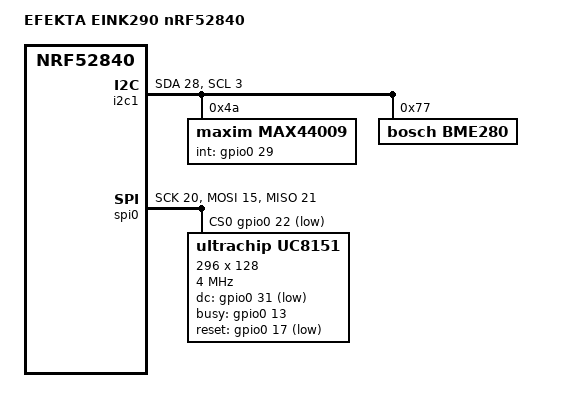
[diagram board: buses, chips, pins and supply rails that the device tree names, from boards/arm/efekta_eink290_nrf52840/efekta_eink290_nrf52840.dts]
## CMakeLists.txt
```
#
# Copyright (c) 2021 Nordic Semiconductor ASA
#
# SPDX-License-Identifier: LicenseRef-Nordic-5-Clause
#
cmake_minimum_required(VERSION 3.20.0)
list(APPEND BOARD_ROOT ${CMAKE_CURRENT_SOURCE_DIR})
set(CMAKE_EXPORT_COMPILE_COMMANDS ON CACHE INTERNAL "")
set(ZEPHYR_EXTRA_MODULES "${CMAKE_SOURCE_DIR}/modules")
find_package(Zephyr REQUIRED HINTS $ENV{ZEPHYR_BASE})

project("Zigbee EFEKTA EINK290 NRF52840")

# NORDIC SDK APP START
#target_include_directories(app PRIVATE include)
target_sources(app PRIVATE
  src/main.c
)
# NORDIC SDK APP END
```

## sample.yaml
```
sample:
  name: Zigbee application template
  description: Zigbee application template
tests:
  zigbee.template:
    build_only: true
    platform_allow: efekta_eink290_nrf52840 nrf52840dk_nrf52840 nrf52833dk_nrf52833 nrf5340dk_nrf5340_cpuapp nrf21540dk_nrf52840
    tags: ci_build smoke
    integration_platforms:
      - nrf52840dk_nrf52840
      - nrf52833dk_nrf52833
      - nrf5340dk_nrf5340_cpuapp
      - nrf21540dk_nrf52840
      - efekta_eink290_nrf52840
```

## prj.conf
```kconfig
#
# Copyright (c) 2021 Nordic Semiconductor ASA
#
# SPDX-License-Identifier: LicenseRef-Nordic-5-Clause
#

# GPIO & LEDs
CONFIG_GPIO=y
CONFIG_LED=y
#CONFIG_LED_GPIO=y

# Logging/Console backend
CONFIG_LOG=y
CONFIG_SHELL=y
CONFIG_SHELL_BACKEND_SERIAL=n
CONFIG_SHELL_BACKEND_RTT=y
CONFIG_USE_SEGGER_RTT=y

# Heap & Main Thread
CONFIG_HEAP_MEM_POOL_SIZE=8192
CONFIG_MAIN_THREAD_PRIORITY=6

# Enable DK LED and Buttons library
CONFIG_DK_LIBRARY=y

# This example requires more workqueue stack
CONFIG_SYSTEM_WORKQUEUE_STACK_SIZE=8192

# Zigbee

#CONFIG_ZIGBEE_CHANNEL_SELECTION_MODE_MULTI=y
#CONFIG_ZIGBEE_ROLE_END_DEVICE=y
CONFIG_SUBSYS_ZIGBEE_DEVICE=n

# Enable nRF ECB driver
CONFIG_CRYPTO=y
CONFIG_CRYPTO_NRF_ECB=y
CONFIG_CRYPTO_INIT_PRIORITY=80

# Cryptocell is not supported through CSPRNG driver API: NCSDK-4813
CONFIG_ENTROPY_CC3XX=n

# Networking
CONFIG_NET_IPV6_MLD=n
CONFIG_NET_IPV6_NBR_CACHE=n
CONFIG_NET_IPV6_RA_RDNSS=n
CONFIG_NET_IP_ADDR_CHECK=n
CONFIG_NET_UDP=n

# BME280 Sensor
CONFIG_SENSOR=y
CONFIG_BME280=y
CONFIG_BME280_MODE_FORCED=y
CONFIG_BME280_TEMP_OVER_8X=y
CONFIG_BME280_STANDBY_500MS=y
CONFIG_BME280_FILTER_OFF=y
CONFIG_SUBSYS_BME280=y

CONFIG_MAX44009=n
CONFIG_SUBSYS_MAX44009=n

#Display
CONFIG_DISPLAY=n
```

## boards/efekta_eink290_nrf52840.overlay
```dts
/*
 * Copyright (c) 2021 Nordic Semiconductor ASA
 *
 * SPDX-License-Identifier: LicenseRef-Nordic-5-Clause
 */

/ {
	chosen {
		zephyr,entropy = &rng;
	};
};
```

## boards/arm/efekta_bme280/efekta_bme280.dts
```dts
// Copyright (c) 2021 Nordic Semiconductor ASA
// SPDX-License-Identifier: Apache-2.0

/dts-v1/;
#include <nordic/nrf52840_qiaa.dtsi>

/ {
	model = "efekta_bme280";
	compatible = "efekta,efekta-bme280";

	chosen {
		zephyr,sram = &sram0;
		zephyr,flash = &flash0;
		zephyr,code-partition = &slot0_partition;
		zephyr,entropy = &rng;

	};

	leds {
		compatible = "gpio-leds";
		led0: led_0 {
			gpios = <&gpio0 5 GPIO_ACTIVE_LOW>;
			label = "LED 0";
		};
	};
	
	buttons {
		compatible = "gpio-keys";
		button0: button_0 {
			gpios = <&gpio0 3 (GPIO_PULL_UP | GPIO_ACTIVE_LOW)>;
			label = "Push button switch 0";
		};
	};
	aliases {
		led0 = &led0;
		sw0 = &button0;
		bootloader-led0 = &led0;
	}; 
};


&adc {
    status = "okay";
};

&gpio0 {
	status = "okay";
};

&gpio1 {
	status = "disabled";
};



&i2c0 {

	compatible = "nordic,nrf-twi";
		status = "okay";
		sda-pin = <30>;
		scl-pin = <31>; 

		bme280@77 {
			compatible = "bosch,bme280";
			reg = <0x77>;
			label = "BME280";
		};
}; 


&flash0 {
	partitions {
		compatible = "fixed-partitions";
		#address-cells = <1>;
		#size-cells = <1>;

		boot_partition: partition@0 {
			label = "mcuboot";
			reg = <0x0 0xc000>;
		};
		slot0_partition: partition@c000 {
			label = "image-0";
			reg = <0xc000 0x72000>;
		};
		slot1_partition: partition@7e000 {
			label = "image-1";
			reg = <0x7e000 0x72000>;
		};
		scratch_partition: partition@f0000 {
			label = "image-scratch";
			reg = <0xf0000 0xa000>;
		};
		storage_partition: partition@fa000 {
			label = "storage";
			reg = <0xfa000 0x6000>;
		};
	};
};
```

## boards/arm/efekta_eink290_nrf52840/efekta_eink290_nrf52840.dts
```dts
// Copyright (c) 2021 Nordic Semiconductor ASA
// SPDX-License-Identifier: Apache-2.0

/dts-v1/;
#include <nordic/nrf52840_qiaa.dtsi>

/ {
	model = "EFEKTA EINK290 nRF52840";
	compatible = "efekta,efekta-eink290-nrf52840";
	
	chosen {
		zephyr,sram = &sram0;
		zephyr,flash = &flash0;
		zephyr,code-partition = &slot0_partition;
	};
};

&gpio0 {
	status = "okay";
};

&gpio1 {
	status = "disabled";
};

&i2c1 {

	compatible = "nordic,nrf-twi";
		status = "okay";
		sda-pin = <28>;
		scl-pin = <3>;
	
		max44009@4a {
			compatible = "maxim,max44009";
			reg = <0x4a>;
			int-gpios = <&gpio0 29 0>;
			label = "MAX44009";
		};

		bme280@77 {
			compatible = "bosch,bme280";
			reg = <0x77>;
			label = "BME280";
		};
};

&spi0 {
	compatible = "nordic,nrf-spi";
	/* Cannot be used together with i2c0. */
	status = "okay"; 
	sck-pin = <20>;
	mosi-pin = <15>;
	miso-pin = <21>;
	cs-gpios = <&gpio0 22 GPIO_ACTIVE_LOW>;

	uc8151@0{
		compatible = "ultrachip,uc8151", "gooddisplay,gdem029t94";
		label = "UC8151";
		spi-max-frequency = <4000000>;
		reg = < 0x0 >;
		pwr = [03 00 2b 2b 03];
		width = <296>;
		height = <128>;
		dc-gpios = <&gpio0 31 GPIO_ACTIVE_LOW>;
		busy-gpios = <&gpio0 13 GPIO_ACTIVE_HIGH>;	
		reset-gpios = <&gpio0 17 GPIO_ACTIVE_LOW>;
		cdi = <0xd7>;
		tcon = <0x22>;
		otp = <0xbf>;
		softstart = [17 17 17];
		lut-initial = [
			
		];
		lut-default = [
			
		];
	};
};

&flash0 {
	partitions {
		compatible = "fixed-partitions";
		#address-cells = <1>;
		#size-cells = <1>;

		boot_partition: partition@0 {
			label = "mcuboot";
			reg = <0x0 0xc000>;
		};
		slot0_partition: partition@c000 {
			label = "image-0";
			reg = <0xc000 0x72000>;
		};
		slot1_partition: partition@7e000 {
			label = "image-1";
			reg = <0x7e000 0x72000>;
		};
		scratch_partition: partition@f0000 {
			label = "image-scratch";
			reg = <0xf0000 0xa000>;
		};
		storage_partition: partition@fa000 {
			label = "storage";
			reg = <0xfa000 0x6000>;
		};
	};
};
```

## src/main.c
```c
#include <zephyr/types.h>
#include <zephyr.h>
#include <logging/log.h>
#include <dk_buttons_and_leds.h>
#include <drivers/sensor.h>

#if CONFIG_SUBSYS_ZIGBEE_DEVICE
#include "zigbee_device.h"
#endif

#if CONFIG_SUBSYS_BME280
#include "bme280.h"
#endif

#if CONFIG_SUBSYS_MAX44009
#include "max44009.h"
#endif


LOG_MODULE_REGISTER(main);

#if CONFIG_SUBSYS_BME280
static void handle_temperature_value(struct sensor_value value)
{
    LOG_INF("Temperature: %d.%06d Celsius", value.val1, value.val2);
    if (value.val2 < 0)
    {
        LOG_WRN("Temperature failed.");
    }
}
static void handle_humidity_value(struct sensor_value value)
{
    LOG_INF("Humidity: %d.%06d %%", value.val1, value.val2);
    if (value.val2 < 0)
    {
        LOG_WRN("Humidity failed.");
    }
}
static void handle_pressure_value(struct sensor_value value)
{
    LOG_INF("Pressure: %1d.%06d hPa", value.val1, value.val2);
    if (value.val2 < 0)
    {
        LOG_WRN("Pressure failed.");
    }
}
#endif

#if CONFIG_SUBSYS_MAX44009
static void handle_luminosity_value(struct sensor_value value)
{
    LOG_INF("LUX: %d.%06d", value.val1, value.val2);
    if (value.val2 < 0)
    {
        LOG_WRN("Get LUX failed.");
    }
}
#endif

void main(void)
{
    LOG_INF("Efekta multi Sensor");

    int err = dk_leds_init();
    if (err)
    {
        LOG_ERR("Cannot init LEDs (err: %d)", err);
    } 

#if CONFIG_SUBSYS_ZIGBEE_DEVICE
    // Start zigbee device
    start_zigbee_device();
#endif

#if CONFIG_SUBSYS_BME280
    // Register sensor value handlers
    bme280_register_temperature_handler(handle_temperature_value);
    bme280_register_humidity_handler(handle_humidity_value);
    bme280_register_pressure_handler(handle_pressure_value);
#if CONFIG_SUBSYS_ZIGBEE_DEVICE
    // Forward bme280 measurements to zigbee
    bme280_register_temperature_handler(publish_temperature);
    bme280_register_humidity_handler(publish_humidity);
    bme280_register_pressure_handler(publish_pressure);
#endif
#endif

#if CONFIG_SUBSYS_MAX44009
    // Register sensor value handlers
    max44009_register_luminosity_handler(handle_luminosity_value);
#if CONFIG_SUBSYS_ZIGBEE_DEVICE
    // Forward measurements to zigbee
    max44009_register_luminosity_handler(publish_luminosity_value);
#endif
#endif
    while (1)
    {
        dk_set_led_off(DK_LED1);
        k_sleep(K_MSEC(1000));
        dk_set_led_on(DK_LED1);
        k_sleep(K_FOREVER);
    }
    /* for (;;) {
        dk_set_led_off(DK_LED1);
        k_sleep(K_MSEC(1000));
        dk_set_led_on(DK_LED1);
        k_cpu_idle();
    } */

}
```

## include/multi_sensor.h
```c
#include <device.h>
#include <devicetree.h>
#include <drivers/sensor.h>

uint32_t lum = 0U;

struct sensor_value temp, press, humidity;
struct sensor_value lum_val;

static const struct device *get_bme280_device(void)
{
	const struct device *dev = device_get_binding("BME280_I2C");

	if (dev == NULL) {
		/* No such node, or the node does not have status "okay". */
		printk("\nError: no device found.\n");
		return NULL;
	}

	if (!device_is_ready(dev)) {
		printk("\nError: Device \"%s\" is not ready; "
		       "check the driver initialization logs for errors.\n",
		       dev->name);
		return NULL;
	}

	printk("Found device \"%s\", getting sensor data\n", dev->name);
	return dev;
}

static const struct device *get_max44009_device(void)
{
	const struct device *dev = device_get_binding("MAX44009");

	if (dev == NULL) {
		/* No such node, or the node does not have status "okay". */
		printk("\nError: no device found.\n");
		return NULL;
	}

	if (!device_is_ready(dev)) {
		printk("\nError: Device \"%s\" is not ready; "
		       "check the driver initialization logs for errors.\n",
		       dev->name);
		return NULL;
	}

	printk("Found device \"%s\", getting sensor data\n", dev->name);
	return dev;
}
```

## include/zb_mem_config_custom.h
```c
/*
 * Copyright (c) 2020 Nordic Semiconductor ASA
 *
 * SPDX-License-Identifier: LicenseRef-Nordic-5-Clause
 */

#ifndef ZB_MEM_CONFIG_CUSTOM_H
#define ZB_MEM_CONFIG_CUSTOM_H 1


#define ZB_CONFIG_ROLE_ZED
#define ZB_CONFIG_OVERALL_NETWORK_SIZE 16

/**
 * Light routing and application traffic from/to that device.
 */
#define ZB_CONFIG_LIGHT_TRAFFIC

/**
 * Simple user's application at that device: not too many relations
 * to other devices.
 */
#define ZB_CONFIG_APPLICATION_SIMPLE

/**
 * The below section is for advanced users.
 * Before modifying any values, please make sure you fully understand the
 * impact, for example by reading zb_mem_config_common.h
 */
#include "zb_mem_config_common.h"

/**
 * Now if you REALLY know what you do, you can study zb_mem_config_common.h
 * and redefine some configuration parameters, like:
 */
#undef ZB_CONFIG_SCHEDULER_Q_SIZE
#define ZB_CONFIG_SCHEDULER_Q_SIZE 24

/**
 * Increase OTA transfer time by extending the APS duplicate rejection table.
 * This value must be less than the amount of possible APS counter values (256).
 */
#undef ZB_CONFIG_APS_DUPS_TABLE_SIZE
#define ZB_CONFIG_APS_DUPS_TABLE_SIZE 64

/* Memory context definitions. */
#include "zb_mem_config_context.h"

#endif /* ZB_MEM_CONFIG_CUSTOM_H */
```

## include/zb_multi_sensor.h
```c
/*
 * Copyright (c) 2020 Nordic Semiconductor ASA
 *
 * SPDX-License-Identifier: LicenseRef-Nordic-5-Clause
 */

#ifndef ZB_MULTI_SENSOR_H__
#define ZB_MULTI_SENSOR_H__

#define ZB_HA_DEFINE_DEVICE_MULTI_SENSOR

#ifdef ZB_HA_DEFINE_DEVICE_MULTI_SENSOR
#define ZB_ZCL_SUPPORT_CLUSTER_BASIC        1
#define ZB_ZCL_SUPPORT_CLUSTER_IDENTIFY     1
#define ZB_ZCL_SUPPORT_CLUSTER_POWER_CONFIG 1
#define ZB_ZCL_SUPPORT_CLUSTER_TEMP_MEASUREMENT 1
#define ZB_ZCL_SUPPORT_CLUSTER_REL_HUMIDITY_MEASUREMENT 1
#define ZB_ZCL_SUPPORT_CLUSTER_ILLUMINANCE_MEASUREMENT  1
#define ZB_ZCL_SUPPORT_CLUSTER_PRESSURE_MEASUREMENT 1
#endif /* ZB_HA_DEFINE_DEVICE_MULTI_SENSOR  */

#define ZB_MULTI_SENSOR_REPORT_ATTR_COUNT  6
#define ZB_DEVICE_VER_MULTI_SENSOR         0                                    /**< Multisensor device version. */
#define ZB_MULTI_SENSOR_IN_CLUSTER_NUM     7                                    /**< Number of the input (server) clusters in the multisensor device. */
#define ZB_MULTI_SENSOR_OUT_CLUSTER_NUM    1                                    /**< Number of the output (client) clusters in the multisensor device. */

/** @brief Declares cluster list for the multisensor device.
 *
 *  @param cluster_list_name            Cluster list variable name.
 *  @param basic_attr_list              Attribute list for the Basic cluster.
 *  @param identify_attr_list           Attribute list for the Identify cluster.
 *  @param temp_measure_attr_list       Attribute list for the Temperature Measurement cluster.
 *  @param pressure_measure_attr_list   Attribute list for the Pressure Measurement cluster.
 */
#define ZB_DECLARE_MULTI_SENSOR_CLUSTER_LIST(                       \
      cluster_list_name,                                            \
      basic_attr_list,                                              \
      identify_attr_list,                                           \
      temp_measure_attr_list,                                       \
      humm_measure_attr_list,                                       \
      pres_measure_attr_list,                                       \
      power_measure_attr_list)                                      \
      zb_zcl_cluster_desc_t cluster_list_name[] =                   \
      {                                                             \
        ZB_ZCL_CLUSTER_DESC(                                        \
          ZB_ZCL_CLUSTER_ID_IDENTIFY,                               \
          ZB_ZCL_ARRAY_SIZE(identify_attr_list, zb_zcl_attr_t),     \
          (identify_attr_list),                                     \
          ZB_ZCL_CLUSTER_SERVER_ROLE,                               \
          ZB_ZCL_MANUF_CODE_INVALID                                 \
        ),                                                          \
        ZB_ZCL_CLUSTER_DESC(                                        \
          ZB_ZCL_CLUSTER_ID_BASIC,                                  \
          ZB_ZCL_ARRAY_SIZE(basic_attr_list, zb_zcl_attr_t),        \
          (basic_attr_list),                                        \
          ZB_ZCL_CLUSTER_SERVER_ROLE,                               \
          ZB_ZCL_MANUF_CODE_INVALID                                 \
        ),                                                          \
        ZB_ZCL_CLUSTER_DESC(                                        \
          ZB_ZCL_CLUSTER_ID_TEMP_MEASUREMENT,                       \
          ZB_ZCL_ARRAY_SIZE(temp_measure_attr_list, zb_zcl_attr_t), \
          (temp_measure_attr_list),                                 \
          ZB_ZCL_CLUSTER_SERVER_ROLE,                               \
          ZB_ZCL_MANUF_CODE_INVALID                                 \
        ),                                                          \
        ZB_ZCL_CLUSTER_DESC(                                        \
          ZB_ZCL_CLUSTER_ID_REL_HUMIDITY_MEASUREMENT,               \
          ZB_ZCL_ARRAY_SIZE(humm_measure_attr_list, zb_zcl_attr_t), \
          (humm_measure_attr_list),                                 \
          ZB_ZCL_CLUSTER_SERVER_ROLE,                               \
          ZB_ZCL_MANUF_CODE_INVALID                                 \
        ),                                                          \
        ZB_ZCL_CLUSTER_DESC(                                        \
          ZB_ZCL_CLUSTER_ID_PRESSURE_MEASUREMENT,                   \
          ZB_ZCL_ARRAY_SIZE(pres_measure_attr_list, zb_zcl_attr_t), \
          (pres_measure_attr_list),                                 \
          ZB_ZCL_CLUSTER_SERVER_ROLE,                               \
          ZB_ZCL_MANUF_CODE_INVALID                                 \
        ),                                                          \
        ZB_ZCL_CLUSTER_DESC(                                        \
          ZB_ZCL_CLUSTER_ID_POWER_CONFIG,                           \
          ZB_ZCL_ARRAY_SIZE(power_measure_attr_list, zb_zcl_attr_t),\
          (power_measure_attr_list),                                \
          ZB_ZCL_CLUSTER_SERVER_ROLE,                               \
          ZB_ZCL_MANUF_CODE_INVALID                                 \
        ),                                                          \
        ZB_ZCL_CLUSTER_DESC(                                        \
          ZB_ZCL_CLUSTER_ID_ILLUMINANCE_MEASUREMENT,                \
          ZB_ZCL_ARRAY_SIZE(illuminance_measure_attr_list, zb_zcl_attr_t),\
          (illuminance_measure_attr_list),                                \
          ZB_ZCL_CLUSTER_SERVER_ROLE,                               \
          ZB_ZCL_MANUF_CODE_INVALID                                 \
        ),                                                          \
        ZB_ZCL_CLUSTER_DESC(                                        \
          ZB_ZCL_CLUSTER_ID_IDENTIFY,                               \
          0,                                                        \
          NULL,                                                     \
          ZB_ZCL_CLUSTER_CLIENT_ROLE,                               \
          ZB_ZCL_MANUF_CODE_INVALID                                 \
        )                                                           \
      }

/** @brief Declares simple descriptor for the "Device_name" device.
 *  
 *  @param ep_name          Endpoint variable name.
 *  @param ep_id            Endpoint ID.
 *  @param in_clust_num     Number of the supported input clusters.
 *  @param out_clust_num    Number of the supported output clusters.
 */
#define ZB_ZCL_DECLARE_MULTI_SENSOR_DESC(ep_name, ep_id, in_clust_num, out_clust_num) \
  ZB_DECLARE_SIMPLE_DESC(in_clust_num, out_clust_num);                                \
  ZB_AF_SIMPLE_DESC_TYPE(in_clust_num, out_clust_num) simple_desc_##ep_name =         \
  {                                                                                   \
    ep_id,                                                                            \
    ZB_AF_HA_PROFILE_ID,                                                              \
    ZB_HA_TEMPERATURE_SENSOR_DEVICE_ID,                                               \
    ZB_DEVICE_VER_MULTI_SENSOR,                                                       \
    0,                                                                                \
    in_clust_num,                                                                     \
    out_clust_num,                                                                    \
    {                                                                                 \
      ZB_ZCL_CLUSTER_ID_BASIC,                                                        \
      ZB_ZCL_CLUSTER_ID_IDENTIFY,                                                     \
      ZB_ZCL_CLUSTER_ID_TEMP_MEASUREMENT,                                             \
      ZB_ZCL_CLUSTER_ID_REL_HUMIDITY_MEASUREMENT,                                     \
      ZB_ZCL_CLUSTER_ID_PRESSURE_MEASUREMENT,                                         \
      ZB_ZCL_CLUSTER_ID_ILLUMINANCE_MEASUREMENT,                                      \
      ZB_ZCL_CLUSTER_ID_POWER_CONFIG,                                                 \
      ZB_ZCL_CLUSTER_ID_IDENTIFY,                                                     \
    }                                                                                 \
  }

/** @brief Declares endpoint for the multisensor device.
 *   
 *  @param ep_name          Endpoint variable name.
 *  @param ep_id            Endpoint ID.
 *  @param cluster_list     Endpoint cluster list.
 */
#define ZB_ZCL_DECLARE_MULTI_SENSOR_EP(ep_name, ep_id, cluster_list)              \
  ZB_ZCL_DECLARE_MULTI_SENSOR_DESC(ep_name,                                       \
      ep_id,                                                                      \
      ZB_MULTI_SENSOR_IN_CLUSTER_NUM,                                             \
      ZB_MULTI_SENSOR_OUT_CLUSTER_NUM);                                           \
  ZBOSS_DEVICE_DECLARE_REPORTING_CTX(reporting_info## device_ctx_name,            \
                                     ZB_MULTI_SENSOR_REPORT_ATTR_COUNT);          \
  ZB_AF_DECLARE_ENDPOINT_DESC(ep_name, ep_id,                                     \
      ZB_AF_HA_PROFILE_ID,                                                        \
      0,                                                                          \
      NULL,                                                                       \
      ZB_ZCL_ARRAY_SIZE(cluster_list, zb_zcl_cluster_desc_t),                     \
      cluster_list,                                                               \
      (zb_af_simple_desc_1_1_t*)&simple_desc_##ep_name,                           \
      ZB_MULTI_SENSOR_REPORT_ATTR_COUNT, reporting_info## device_ctx_name, 0, NULL)




#endif /*  ZB_MULTI_SENSOR_H__ */
```

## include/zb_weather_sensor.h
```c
/*
 * Copyright (c) 2020 Nordic Semiconductor ASA
 *
 * SPDX-License-Identifier: LicenseRef-Nordic-5-Clause
 */

#ifndef ZB_HA_DEFINE_DEVICE_WEATHER_SENSOR_H__
#define ZB_HA_DEFINE_DEVICE_WEATHER_SENSOR_H__

#define ZB_HA_DEFINE_DEVICE_WEATHER_SENSOR

#ifdef ZB_HA_DEFINE_DEVICE_WEATHER_SENSOR
#define ZB_ZCL_SUPPORT_CLUSTER_BASIC        1
#define ZB_ZCL_SUPPORT_CLUSTER_IDENTIFY     1
#define ZB_ZCL_SUPPORT_CLUSTER_POWER_CONFIG 1
#define ZB_ZCL_SUPPORT_CLUSTER_TEMP_MEASUREMENT 1
#define ZB_ZCL_SUPPORT_CLUSTER_REL_HUMIDITY_MEASUREMENT 1
#define ZB_ZCL_SUPPORT_CLUSTER_ILLUMINANCE_MEASUREMENT  1
#define ZB_ZCL_SUPPORT_CLUSTER_PRESSURE_MEASUREMENT 1
#endif /* ZB_HA_DEFINE_DEVICE_WEATHER_SENSOR  */


#endif /*ZB_HA_DEFINE_DEVICE_WEATHER_SENSOR_H__ */
```

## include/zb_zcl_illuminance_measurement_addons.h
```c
/*
 * Copyright (c) 2020 Nordic Semiconductor ASA
 *
 * SPDX-License-Identifier: LicenseRef-Nordic-5-Clause
 */

#ifndef ZB_ZCL_ILLUMINANCE_MEASUREMENT_ADDONS_H__
#define ZB_ZCL_ILLUMINANCE_MEASUREMENT_ADDONS_H__

#include "zboss_api.h"

/*! \addtogroup zb_zcl_illuminance_measurement_addons */
/*! @{ */

/**@brief Illuminance Measurement cluster attributes according to ZCL Spec 4.4.2.1.1. */
typedef struct
{
    zb_int16_t  measure_value;
    zb_int16_t  min_measure_value;
    zb_int16_t  max_measure_value;
} zb_zcl_illuminance_measurement_attrs_t;

/** @} */

#endif /* ZZB_ZCL_ILLUMINANCE_MEASUREMENT_ADDONS_H__ */
```

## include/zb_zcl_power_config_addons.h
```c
/*
 * Copyright (c) 2020 Nordic Semiconductor ASA
 *
 * SPDX-License-Identifier: LicenseRef-Nordic-5-Clause
 */

#ifndef ZB_ZCL_POWER_CONFIG_ADDONS_H__
#define ZB_ZCL_POWER_CONFIG_ADDONS_H__

#include "zboss_api.h"

/*! \addtogroup zb_zcl_power_config_addons */
/*! @{ */

/**@brief power config cluster attributes according to ZCL Spec 4.4.2.1.1. */
typedef struct
{
    zb_uint8_t battery_voltage;
    zb_uint8_t battery_size;
    zb_uint8_t battery_quantity;
    zb_uint8_t battery_rated_voltage;
    zb_uint8_t battery_alarm_mask;
    zb_uint8_t battery_voltage_min_threshold;

} zb_zcl_power_config_attrs_t;

/** @} */

#endif /* ZB_ZCL_POWER_CONFIG_ADDONS_H__ */
```

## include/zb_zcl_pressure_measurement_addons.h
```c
/*
 * Copyright (c) 2020 Nordic Semiconductor ASA
 *
 * SPDX-License-Identifier: LicenseRef-Nordic-5-Clause
 */

#ifndef ZB_ZCL_PRESSURE_MEASUREMENT_ADDONS_H__
#define ZB_ZCL_PRESSURE_MEASUREMENT_ADDONS_H__

#include "zboss_api.h"

/*! \addtogroup zb_zcl_pressure_measurement_addons */
/*! @{ */

/**@brief Pressure Measurement cluster attributes according to ZCL Spec 4.4.2.1.1. */
typedef struct
{
    zb_int16_t  measure_value;
    zb_int16_t  min_measure_value;
    zb_int16_t  max_measure_value;
    zb_uint16_t  tolerance;
} zb_zcl_pressure_measurement_attrs_t;

/** @} */

#endif /* ZB_ZCL_Pressure_MEASUREMENT_ADDONS_H__ */
```

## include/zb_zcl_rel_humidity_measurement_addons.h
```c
/*
 * Copyright (c) 2020 Nordic Semiconductor ASA
 *
 * SPDX-License-Identifier: LicenseRef-Nordic-5-Clause
 */

#ifndef ZB_ZCL_REL_HUMIDITY_MEASUREMENT_ADDONS_H__
#define ZB_ZCL_REL_HUMIDITY_MEASUREMENT_ADDONS_H__

#include "zboss_api.h"

/*! \addtogroup zb_zcl_rel_humidity_measurement_addons */
/*! @{ */

/**@brief Humidity Measurement cluster attributes according to ZCL Spec 4.4.2.1.1. */
typedef struct
{
    zb_int16_t  measure_value;
    zb_int16_t  min_measure_value;
    zb_int16_t  max_measure_value;
} zb_zcl_rel_humidity_measurement_attrs_t;

/** @} */

#endif /* ZB_ZCL_REL_HUMIDITY_MEASUREMENT_ADDONS_H__ */
```
